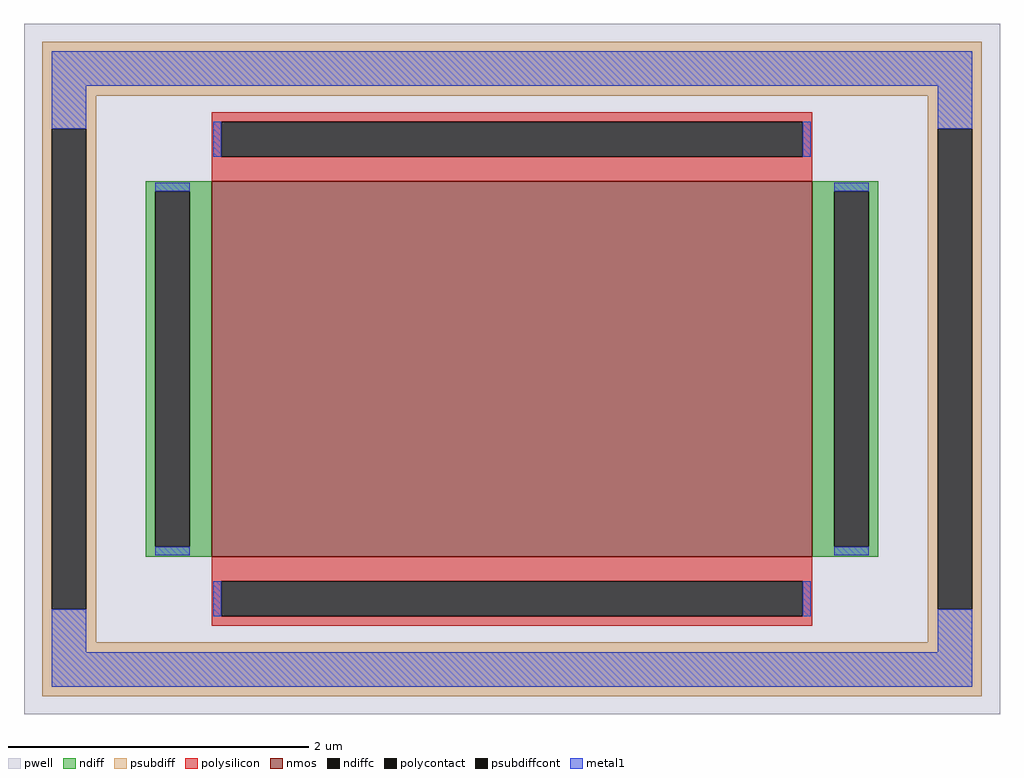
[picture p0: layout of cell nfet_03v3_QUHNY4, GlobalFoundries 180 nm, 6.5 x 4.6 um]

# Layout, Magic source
magic
tech gf180mcuD
magscale 1 10
<< pwell >>
rect -650 -460 650 460
<< nmos >>
rect -400 -250 400 250
<< ndiff >>
rect -488 237 -400 250
rect -488 -237 -475 237
rect -429 -237 -400 237
rect -488 -250 -400 -237
rect 400 237 488 250
rect 400 -237 429 237
rect 475 -237 488 237
rect 400 -250 488 -237
<< ndiffc >>
rect -475 -237 -429 237
rect 429 -237 475 237
<< psubdiff >>
rect -626 364 626 436
rect -626 320 -554 364
rect -626 -320 -613 320
rect -567 -320 -554 320
rect 554 320 626 364
rect -626 -364 -554 -320
rect 554 -320 567 320
rect 613 -320 626 320
rect 554 -364 626 -320
rect -626 -436 626 -364
<< psubdiffcont >>
rect -613 -320 -567 320
rect 567 -320 613 320
<< polysilicon >>
rect -400 329 400 342
rect -400 283 -387 329
rect 387 283 400 329
rect -400 250 400 283
rect -400 -283 400 -250
rect -400 -329 -387 -283
rect 387 -329 400 -283
rect -400 -342 400 -329
<< polycontact >>
rect -387 283 387 329
rect -387 -329 387 -283
<< metal1 >>
rect -613 377 613 423
rect -613 320 -567 377
rect -398 283 -387 329
rect 387 283 398 329
rect 567 320 613 377
rect -475 237 -429 248
rect -475 -248 -429 -237
rect 429 237 475 248
rect 429 -248 475 -237
rect -613 -377 -567 -320
rect -398 -329 -387 -283
rect 387 -329 398 -283
rect 567 -377 613 -320
rect -613 -423 613 -377
<< properties >>
string FIXED_BBOX -590 -400 590 400
string gencell nfet_03v3
string library gf180mcu
string parameters w 2.5 l 4 m 1 nf 1 diffcov 100 polycov 100 guard 1 glc 1 grc 1 gtc 0 gbc 0 tbcov 100 rlcov 100 topc 1 botc 1 poverlap 0 doverlap 1 lmin 0.28 wmin 0.22 class mosfet full_metal 1 compatible {nfet_03v3 nfet_05v0 nfet_06v0 nfet_06v0_nvt}
<< end >>
